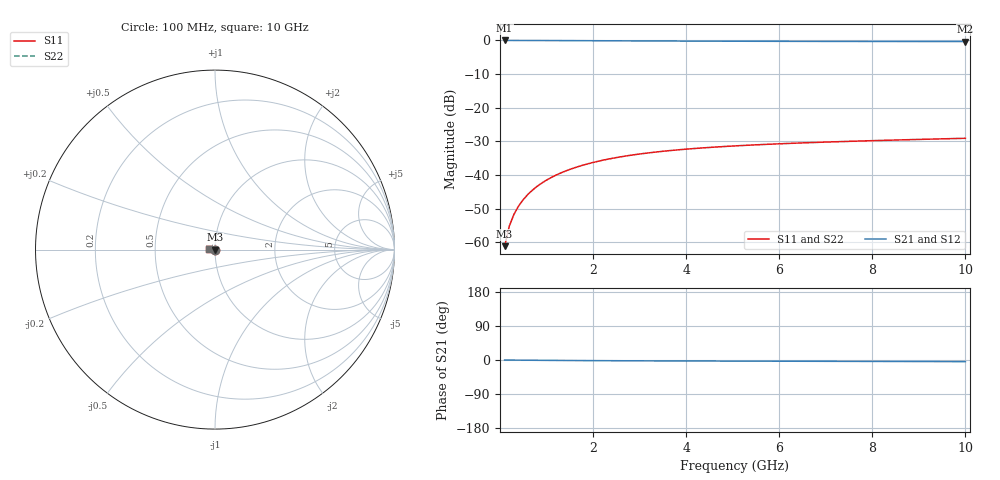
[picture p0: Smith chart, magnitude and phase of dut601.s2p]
! Touchstone file exported from HFSS 2024.1.0
!  File:  C:/UserFiles/LocalFiles/RDL_TSV_Batchsim/temp_TSV1_601_1779787444.aedt
!  Generated:  05:29:35 PM May 26, 2026
!  Design:  TSV1
!  Project:  temp_TSV1_601_1779787444
!  Setup:  Setup1
!  Solution:  Sweep
! Variables:
!  dtsv = 8.65um
!  hbump = 3um
!  htsv = 64.71um
!  lrdl = 252.1521522um
!  p = 40
!  p1 = 47.9um
!  t = 500um
!  trdl = 3um
!  wrdl = 24.89489489um
# GHz S MA R 50.000000
! Terminal data exported
! Port[1] = TSV22_T1
! Port[2] = TSV22_T2
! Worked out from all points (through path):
!   100 points, 100 MHz to 10 GHz, reference 50 ohm
!   highest |S21| = 0.00 dB at 100 MHz (marker M1); lowest = -0.3 dB at 10 GHz (marker M2)
!   lowest |S11| = -61.2 dB at 100 MHz (marker M3), VSWR 1.00, Z = 50 - j0.0859 ohm
!   |S11| at or under -10 dB: start of sweep to end of sweep
!   |S22| runs from -61.2 to -29.1 dB; largest |S21 - S12| = 3.2e-15
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0.1  0.0008704 -80.5  0.9998 -0.1  0.9998 -0.1  0.0008704 -80.5
! Gamma 0 0 0 0
! Port Impedance 50 0 50 0
0.2  0.001725 -87.8  0.9997 -0.2  0.9997 -0.2  0.001725 -87.8
0.3  0.002584 -91.5  0.9995 -0.3  0.9995 -0.3  0.002584 -91.5
0.4  0.003437 -94.4  0.9993 -0.4  0.9993 -0.4  0.003437 -94.4
0.5  0.004284 -96.8  0.9991 -0.5  0.9991 -0.5  0.004284 -96.8
0.6  0.005122 -99.0  0.9988 -0.6  0.9988 -0.6  0.005122 -99.0
0.7  0.00595 -101.1  0.9984 -0.7  0.9984 -0.7  0.00595 -101.1
0.8  0.006766 -103.1  0.998 -0.8  0.998 -0.8  0.006766 -103.1
0.9  0.007568 -105.1  0.9976 -0.8  0.9976 -0.8  0.007568 -105.1
1.1  0.009131 -108.8  0.9966 -1.0  0.9966 -1.0  0.009131 -108.8
1.4  0.01135 -114.2  0.9949 -1.2  0.9949 -1.2  0.01135 -114.2
1.6  0.01274 -117.5  0.9936 -1.4  0.9936 -1.4  0.01274 -117.5
1.8  0.01406 -120.8  0.9923 -1.5  0.9923 -1.5  0.01406 -120.8
2.1  0.01589 -125.4  0.9903 -1.7  0.9903 -1.7  0.0159 -125.4
2.5  0.01809 -131.2  0.9875 -1.9  0.9875 -1.9  0.01809 -131.2
2.9  0.02 -136.5  0.9849 -2.1  0.9849 -2.1  0.02 -136.5
3.4  0.02207 -142.5  0.9819 -2.4  0.9819 -2.4  0.02207 -142.5
4.2  0.02475 -151.0  0.9776 -2.6  0.9776 -2.6  0.02475 -151.0
5.1  0.02711 -159.1  0.9738 -2.9  0.9738 -2.9  0.02711 -159.1
6.7  0.03026 -171.0  0.9689 -3.4  0.9689 -3.4  0.03026 -171.0
8.4  0.03287 178.9  0.9654 -3.8  0.9654 -3.8  0.03287 178.9
10  0.03503 170.9  0.9632 -4.3  0.9632 -4.3  0.03503 170.9
